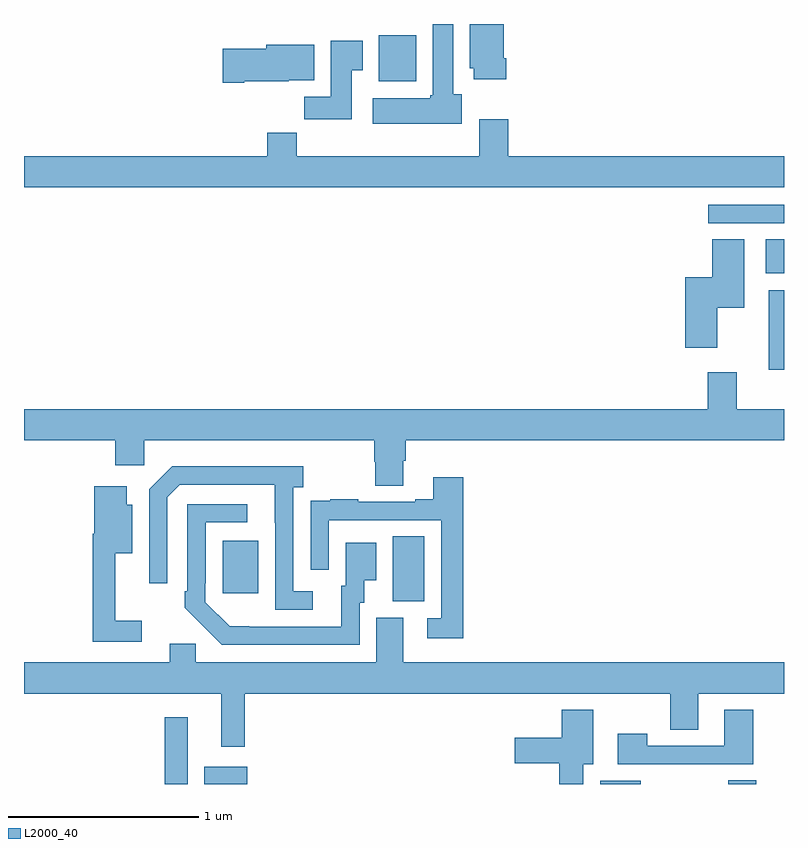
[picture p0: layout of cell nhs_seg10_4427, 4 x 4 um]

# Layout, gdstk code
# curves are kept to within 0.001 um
import gdstk
lib = gdstk.Library(unit=1e-6, precision=1e-09)
def R(c, l, rs):  # rectangles x0, y0, x1, y1
    for r in rs: c.add(gdstk.rectangle(r[:2], r[2:], *l))
def P(c, l, *ps):  # polygons
    for p in ps: c.add(gdstk.Polygon(p, *l))
L2000_40 = (2000, 40)

nhs_seg10_4427 = lib.new_cell('nhs_seg10_4427')
R(nhs_seg10_4427, L2000_40, [(361.74,1306.5,361.861,1306.852), (361.949,1306.5,362.176,1306.591), (364.034,1306.5,364.246,1306.516), (364.706,1306.5,364.853,1306.52), (362.942,1307.461,363.106,1307.804), (362.045,1307.505,362.233,1307.779), (364.919,1308.681,365,1309.099), (364.904,1309.188,365,1309.367), (364.602,1309.452,365,1309.548), (362.867,1310.198,363.064,1310.44)])
P(nhs_seg10_4427, L2000_40, [(363.539,1310.32),(363.526,1310.32),(363.526,1310.5),(363.347,1310.5),(363.347,1310.268),(363.368,1310.268),(363.368,1310.208),(363.539,1310.208)],
  [(363.304,1310.13),(363.259,1310.13),(363.259,1310.5),(363.152,1310.5),(363.152,1310.124),(363.139,1310.124),(363.139,1310.11),(362.835,1310.11),(362.835,1309.976),(363.304,1309.976)],
  [(362.725,1310.257),(362.782,1310.257),(362.782,1310.413),(362.615,1310.413),(362.615,1310.116),(362.476,1310.116),(362.476,1309.998),(362.725,1309.998)],
  [(362.158,1310.198),(362.394,1310.198),(362.394,1310.204),(362.527,1310.204),(362.527,1310.392),(362.276,1310.392),(362.276,1310.369),(362.046,1310.369),(362.046,1310.191),(362.158,1310.191)],
  [(365,1309.804),(363.548,1309.804),(363.548,1309.999),(363.395,1309.999),(363.395,1309.804),(362.435,1309.804),(362.435,1309.928),(362.279,1309.928),(362.279,1309.804),(361,1309.804),(361,1309.64),(365,1309.64)],
  [(364.648,1309.006),(364.792,1309.006),(364.792,1309.366),(364.622,1309.366),(364.622,1309.168),(364.481,1309.168),(364.481,1308.795),(364.648,1308.795)],
  [(362.995,1308.202),(363.008,1308.202),(363.008,1308.308),(365,1308.308),(365,1308.472),(364.75,1308.472),(364.75,1308.667),(364.598,1308.667),(364.598,1308.472),(361,1308.472),(361,1308.308),(361.481,1308.308),(361.481,1308.177),(361.632,1308.177),(361.632,1308.308),(362.843,1308.308),(362.843,1308.195),(362.848,1308.195),(362.848,1308.07),(362.995,1308.07)],
  [(362.521,1307.514),(362.418,1307.514),(362.418,1308.062),(362.47,1308.062),(362.47,1308.172),(361.78,1308.172),(361.659,1308.051),(361.659,1307.556),(361.755,1307.556),(361.755,1308.009),(361.821,1308.075),(362.321,1308.075),(362.322,1307.418),(362.521,1307.418)],
  [(363.311,1308.115),(363.155,1308.115),(363.155,1307.998),(363.059,1307.998),(363.059,1307.985),(362.759,1307.985),(362.759,1307.998),(362.611,1307.998),(362.611,1307.991),(362.509,1307.991),(362.509,1307.882),(362.508,1307.882),(362.508,1307.628),(362.604,1307.628),(362.604,1307.889),(363.195,1307.889),(363.195,1307.373),(363.123,1307.373),(363.123,1307.268),(363.311,1307.268)],
  [(361.621,1307.359),(361.481,1307.359),(361.481,1307.714),(361.57,1307.714),(361.57,1307.971),(361.54,1307.971),(361.54,1308.067),(361.37,1308.067),(361.37,1307.818),(361.363,1307.818),(361.363,1307.25),(361.621,1307.25)],
  [(362.766,1307.454),(362.791,1307.454),(362.791,1307.573),(362.854,1307.573),(362.854,1307.77),(362.693,1307.77),(362.693,1307.544),(362.669,1307.544),(362.669,1307.328),(362.082,1307.329),(361.953,1307.457),(361.953,1307.557),(361.956,1307.557),(361.956,1307.877),(362.176,1307.877),(362.176,1307.973),(361.86,1307.973),(361.86,1307.515),(361.845,1307.515),(361.845,1307.427),(362.042,1307.232),(362.766,1307.232)],
  [(362.161,1306.976),(364.402,1306.976),(364.402,1306.786),(364.549,1306.786),(364.549,1306.976),(365,1306.976),(365,1307.14),(362.995,1307.14),(362.995,1307.376),(362.855,1307.376),(362.855,1307.14),(361.905,1307.14),(361.905,1307.238),(361.766,1307.238),(361.766,1307.14),(361,1307.14),(361,1306.976),(362.039,1306.976),(362.039,1306.695),(362.161,1306.695)],
  [(364.838,1306.891),(364.685,1306.891),(364.685,1306.701),(364.281,1306.701),(364.281,1306.765),(364.125,1306.765),(364.125,1306.605),(364.838,1306.605)],
  [(363.943,1306.604),(363.997,1306.604),(363.997,1306.891),(363.83,1306.891),(363.83,1306.744),(363.582,1306.744),(363.582,1306.61),(363.818,1306.61),(363.818,1306.5),(363.943,1306.5)])

lib.write_gds('nhs_seg10_4427.gds')
